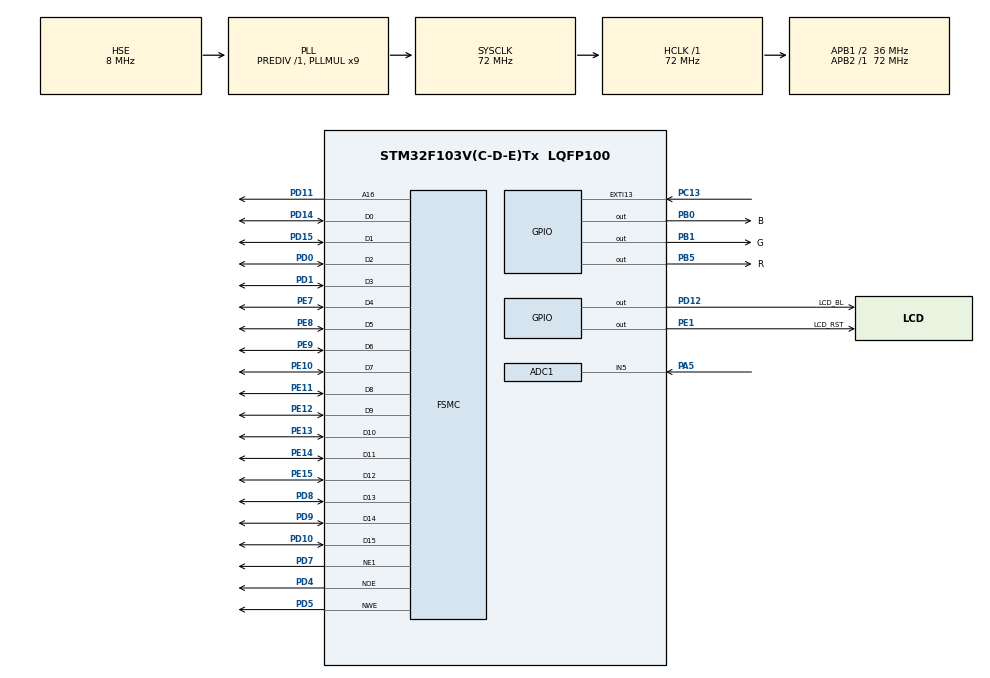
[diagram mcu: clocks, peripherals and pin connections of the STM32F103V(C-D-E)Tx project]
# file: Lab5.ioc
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ADC1.Channel-0\#ChannelRegularConversion=ADC_CHANNEL_5
ADC1.EnableInjectedConversion=DISABLE
ADC1.InjNumberOfConversion=0
ADC1.NbrOfConversionFlag=1
ADC1.Rank-0\#ChannelRegularConversion=1
ADC1.SamplingTime-0\#ChannelRegularConversion=ADC_SAMPLETIME_55CYCLES_5
ADC1.master=1
ADC2.Channel-1\#ChannelRegularConversion=ADC_CHANNEL_5
ADC2.ContinuousConvMode=ENABLE
ADC2.NbrOfConversionFlag=1
ADC2.Rank-1\#ChannelRegularConversion=1
ADC2.SamplingTime-1\#ChannelRegularConversion=ADC_SAMPLETIME_55CYCLES_5
Mcu.Family=STM32F1
Mcu.Name=STM32F103V(C-D-E)Tx
Mcu.Package=LQFP100
NVIC.EXTI15_10_IRQn=true\:0\:0\:false\:false\:true\:true\:true\:true
NVIC.PriorityGroup=NVIC_PRIORITYGROUP_4
OSC_IN.Mode=HSE-External-Oscillator
OSC_IN.Signal=RCC_OSC_IN
OSC_OUT.Mode=HSE-External-Oscillator
OSC_OUT.Signal=RCC_OSC_OUT
PA13.Mode=Serial_Wire
PA13.Signal=SYS_JTMS-SWDIO
PA14.Mode=Serial_Wire
PA14.Signal=SYS_JTCK-SWCLK
PA5.Signal=ADCx_IN5
PB0.GPIO_Label=B
PB0.GPIO_PuPd=GPIO_PULLDOWN
PB0.GPIO_Speed=GPIO_SPEED_FREQ_HIGH
PB0.PinState=GPIO_PIN_SET
PB0.Signal=GPIO_Output
PB1.GPIO_Label=G
PB1.GPIO_PuPd=GPIO_PULLDOWN
PB1.GPIO_Speed=GPIO_SPEED_FREQ_HIGH
PB1.PinState=GPIO_PIN_SET
PB1.Signal=GPIO_Output
PB5.GPIO_Label=R
PB5.GPIO_PuPd=GPIO_PULLDOWN
PB5.GPIO_Speed=GPIO_SPEED_FREQ_HIGH
PB5.PinState=GPIO_PIN_SET
PB5.Signal=GPIO_Output
PC13-TAMPER-RTC.Signal=GPXTI13
PC14-OSC32_IN.Mode=LSE-External-Oscillator
PC14-OSC32_IN.Signal=RCC_OSC32_IN
PC15-OSC32_OUT.Mode=LSE-External-Oscillator
PC15-OSC32_OUT.Signal=RCC_OSC32_OUT
PD0.Mode=16b-d1
PD0.Signal=FSMC_D2
PD1.Mode=16b-d1
PD1.Signal=FSMC_D3
PD10.Mode=16b-d1
PD10.Signal=FSMC_D15
PD11.Mode=A16_1
PD11.Signal=FSMC_A16
PD12.GPIO_Label=LCD_BL
PD12.GPIO_Speed=GPIO_SPEED_FREQ_HIGH
PD12.Signal=GPIO_Output
PD14.Mode=16b-d1
PD14.Signal=FSMC_D0
PD15.Mode=16b-d1
PD15.Signal=FSMC_D1
PD4.Mode=Lcd1
PD4.Signal=FSMC_NOE
PD5.Mode=Lcd1
PD5.Signal=FSMC_NWE
PD7.Mode=NorPsramChipSelect1_1
PD7.Signal=FSMC_NE1
PD8.Mode=16b-d1
PD8.Signal=FSMC_D13
PD9.Mode=16b-d1
PD9.Signal=FSMC_D14
PE1.GPIO_Label=LCD_RST
PE1.GPIO_Speed=GPIO_SPEED_FREQ_HIGH
PE1.PinState=GPIO_PIN_RESET
PE1.Signal=GPIO_Output
PE10.Mode=16b-d1
PE10.Signal=FSMC_D7
PE11.Mode=16b-d1
PE11.Signal=FSMC_D8
PE12.Mode=16b-d1
PE12.Signal=FSMC_D9
PE13.Mode=16b-d1
PE13.Signal=FSMC_D10
PE14.Mode=16b-d1
PE14.Signal=FSMC_D11
PE15.Mode=16b-d1
PE15.Signal=FSMC_D12
PE7.Mode=16b-d1
PE7.Signal=FSMC_D4
PE8.Mode=16b-d1
PE8.Signal=FSMC_D5
PE9.Mode=16b-d1
PE9.Signal=FSMC_D6
ProjectManager.HeapSize=0x200
ProjectManager.StackSize=0x400
ProjectManager.TargetToolchain=STM32CubeIDE
RCC.ADCPresc=RCC_ADCPCLK2_DIV6
RCC.AHBFreq_Value=72000000
RCC.APB1CLKDivider=RCC_HCLK_DIV2
RCC.APB1Freq_Value=36000000
RCC.APB1TimFreq_Value=72000000
RCC.APB2Freq_Value=72000000
RCC.APB2TimFreq_Value=72000000
RCC.HCLKFreq_Value=72000000
RCC.PLLMUL=RCC_PLL_MUL9
RCC.PLLSourceVirtual=RCC_PLLSOURCE_HSE
RCC.SYSCLKFreq_VALUE=72000000
RCC.SYSCLKSource=RCC_SYSCLKSOURCE_PLLCLK
RCC.USBFreq_Value=72000000
SH.ADCx_IN5.0=ADC1_IN5,IN5
SH.ADCx_IN5.1=ADC2_IN5,IN5
board=custom

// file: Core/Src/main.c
/* USER CODE BEGIN Header */
/**
  ******************************************************************************
  * @file           : main.c
  * @brief          : Main program body
  ******************************************************************************
  * @attention
  *
  * Copyright (c) 2024 STMicroelectronics.
  * All rights reserved.
  *
  * This software is licensed under terms that can be found in the LICENSE file
  * in the root directory of this software component.
  * If no LICENSE file comes with this software, it is provided AS-IS.
  *
  ******************************************************************************
  */
/* USER CODE END Header */
#include "main.h"

/* USER CODE BEGIN Includes */
#include "lcd.h"
#include <stdio.h>
// #include <string.h>
/* USER CODE END Includes */

 ADC_HandleTypeDef hadc1;
ADC_HandleTypeDef hadc2;

SRAM_HandleTypeDef hsram1;

/* USER CODE BEGIN PV */
extern int isrFlag;
uint32_t adc1_value;
uint32_t adc2_value;
/* USER CODE END PV */

void SystemClock_Config(void);
static void MX_GPIO_Init(void);
static void MX_FSMC_Init(void);
static void MX_ADC1_Init(void);
static void MX_ADC2_Init(void);

int main(void)
{

  /* MCU Configuration--------------------------------------------------------*/

  /* Reset of all peripherals, Initializes the Flash interface and the Systick. */
  HAL_Init();

  /* Configure the system clock */
  SystemClock_Config();

  /* Initialize all configured peripherals */
  MX_GPIO_Init();
  MX_FSMC_Init();
  MX_ADC1_Init();
  MX_ADC2_Init();
  /* USER CODE BEGIN 2 */
  HAL_ADCEx_Calibration_Start(&hadc1);
  HAL_ADCEx_Calibration_Start(&hadc2);
  HAL_ADC_Start(&hadc2);

  LCD_INIT();
  /* USER CODE END 2 */

  /* Infinite loop */
  while (1)
  {

	  /* USER CODE BEGIN 3 */
      LCD_DrawString(150, 20, "HEX");
      LCD_DrawString(100, 20, "DEC");
      LCD_DrawString(10, 40, "ADC Value:");
      LCD_DrawString(10, 60, "ADC Value:");
//      if(adc1_value < 1000 || adc2_value < 1000){
//    	  LCD_Clear(0, 0, 240, 320, WHITE);
//      }
    if (isrFlag)
    {
      HAL_ADC_Start(&hadc1);
      HAL_ADC_PollForConversion(&hadc1, 1000);
      adc1_value = HAL_ADC_GetValue(&hadc1);
      char buffer[4];

      sprintf(buffer, "%d", adc1_value);
      LCD_DrawString(100, 40, "    ");
      LCD_DrawString(100, 40, buffer);
      char buffer1[10];
      sprintf(buffer1, " 0x%x", adc1_value);
      LCD_DrawString(160, 40, "           ");
      LCD_DrawString(150, 40, buffer1);
      isrFlag = 0;
    }

    HAL_ADC_PollForConversion(&hadc2, 1000);
    adc2_value = HAL_ADC_GetValue(&hadc2);

    char buffer2[4];
    LCD_DrawString(100, 60, "    ");
    LCD_DrawString(100, 60, buffer2);
    sprintf(buffer2, "%d", adc2_value);
    char buffer3[10];
    sprintf(buffer3, " 0x%x", adc2_value);
    LCD_DrawString(160, 60, "          ");
    LCD_DrawString(150, 60, buffer3);
    HAL_Delay(100);

    if (adc2_value < 1300) {
      HAL_GPIO_WritePin(GPIOB, B_Pin|G_Pin|R_Pin, GPIO_PIN_RESET);
    }
    else if(adc2_value < 2200) {
      HAL_GPIO_WritePin(GPIOB, B_Pin|G_Pin, GPIO_PIN_SET);
      HAL_GPIO_WritePin(GPIOB, R_Pin, GPIO_PIN_RESET);

    }
    else if(adc2_value < 2700) {

      HAL_GPIO_WritePin(GPIOB, G_Pin|R_Pin, GPIO_PIN_SET);
      HAL_GPIO_WritePin(GPIOB, B_Pin, GPIO_PIN_RESET);
    }
    else if(adc2_value < 3700) {
      HAL_GPIO_WritePin(GPIOB, B_Pin|R_Pin, GPIO_PIN_SET);
      HAL_GPIO_WritePin(GPIOB, G_Pin, GPIO_PIN_RESET);

    }
    else if(adc2_value >= 3700) {
      HAL_GPIO_WritePin(GPIOB, B_Pin|G_Pin|R_Pin, GPIO_PIN_SET);
    }

  }
  /* USER CODE END 3 */
}

void SystemClock_Config(void)
{
  RCC_OscInitTypeDef RCC_OscInitStruct = {0};
  RCC_ClkInitTypeDef RCC_ClkInitStruct = {0};
  RCC_PeriphCLKInitTypeDef PeriphClkInit = {0};

  /** Initializes the RCC Oscillators according to the specified parameters
  * in the RCC_OscInitTypeDef structure.
  */
  RCC_OscInitStruct.OscillatorType = RCC_OSCILLATORTYPE_HSE;
  RCC_OscInitStruct.HSEState = RCC_HSE_ON;
  RCC_OscInitStruct.HSEPredivValue = RCC_HSE_PREDIV_DIV1;
  RCC_OscInitStruct.HSIState = RCC_HSI_ON;
  RCC_OscInitStruct.PLL.PLLState = RCC_PLL_ON;
  RCC_OscInitStruct.PLL.PLLSource = RCC_PLLSOURCE_HSE;
  RCC_OscInitStruct.PLL.PLLMUL = RCC_PLL_MUL9;
  if (HAL_RCC_OscConfig(&RCC_OscInitStruct) != HAL_OK)
  {
    Error_Handler();
  }

  /** Initializes the CPU, AHB and APB buses clocks
  */
  RCC_ClkInitStruct.ClockType = RCC_CLOCKTYPE_HCLK|RCC_CLOCKTYPE_SYSCLK
                              |RCC_CLOCKTYPE_PCLK1|RCC_CLOCKTYPE_PCLK2;
  RCC_ClkInitStruct.SYSCLKSource = RCC_SYSCLKSOURCE_PLLCLK;
  RCC_ClkInitStruct.AHBCLKDivider = RCC_SYSCLK_DIV1;
  RCC_ClkInitStruct.APB1CLKDivider = RCC_HCLK_DIV2;
  RCC_ClkInitStruct.APB2CLKDivider = RCC_HCLK_DIV1;

  if (HAL_RCC_ClockConfig(&RCC_ClkInitStruct, FLASH_LATENCY_2) != HAL_OK)
  {
    Error_Handler();
  }
  PeriphClkInit.PeriphClockSelection = RCC_PERIPHCLK_ADC;
  PeriphClkInit.AdcClockSelection = RCC_ADCPCLK2_DIV6;
  if (HAL_RCCEx_PeriphCLKConfig(&PeriphClkInit) != HAL_OK)
  {
    Error_Handler();
  }
}

static void MX_ADC1_Init(void)
{

  ADC_ChannelConfTypeDef sConfig = {0};

  /** Common config
  */
  hadc1.Instance = ADC1;
  hadc1.Init.ScanConvMode = ADC_SCAN_DISABLE;
  hadc1.Init.ContinuousConvMode = DISABLE;
  hadc1.Init.DiscontinuousConvMode = DISABLE;
  hadc1.Init.ExternalTrigConv = ADC_SOFTWARE_START;
  hadc1.Init.DataAlign = ADC_DATAALIGN_RIGHT;
  hadc1.Init.NbrOfConversion = 1;
  if (HAL_ADC_Init(&hadc1) != HAL_OK)
  {
    Error_Handler();
  }

  /** Configure Regular Channel
  */
  sConfig.Channel = ADC_CHANNEL_5;
  sConfig.Rank = ADC_REGULAR_RANK_1;
  sConfig.SamplingTime = ADC_SAMPLETIME_55CYCLES_5;
  if (HAL_ADC_ConfigChannel(&hadc1, &sConfig) != HAL_OK)
  {
    Error_Handler();
  }

}

static void MX_ADC2_Init(void)
{

  ADC_ChannelConfTypeDef sConfig = {0};

  /** Common config
  */
  hadc2.Instance = ADC2;
  hadc2.Init.ScanConvMode = ADC_SCAN_DISABLE;
  hadc2.Init.ContinuousConvMode = ENABLE;
  hadc2.Init.DiscontinuousConvMode = DISABLE;
  hadc2.Init.ExternalTrigConv = ADC_SOFTWARE_START;
  hadc2.Init.DataAlign = ADC_DATAALIGN_RIGHT;
  hadc2.Init.NbrOfConversion = 1;
  if (HAL_ADC_Init(&hadc2) != HAL_OK)
  {
    Error_Handler();
  }

  /** Configure Regular Channel
  */
  sConfig.Channel = ADC_CHANNEL_5;
  sConfig.Rank = ADC_REGULAR_RANK_1;
  sConfig.SamplingTime = ADC_SAMPLETIME_55CYCLES_5;
  if (HAL_ADC_ConfigChannel(&hadc2, &sConfig) != HAL_OK)
  {
    Error_Handler();
  }

}

static void MX_GPIO_Init(void)
{
  GPIO_InitTypeDef GPIO_InitStruct = {0};

  /* GPIO Ports Clock Enable */
  __HAL_RCC_GPIOC_CLK_ENABLE();
  __HAL_RCC_GPIOA_CLK_ENABLE();
  __HAL_RCC_GPIOB_CLK_ENABLE();
  __HAL_RCC_GPIOE_CLK_ENABLE();
  __HAL_RCC_GPIOD_CLK_ENABLE();

  /*Configure GPIO pin Output Level */
  HAL_GPIO_WritePin(GPIOB, B_Pin|G_Pin|R_Pin, GPIO_PIN_SET);

  /*Configure GPIO pin Output Level */
  HAL_GPIO_WritePin(LCD_BL_GPIO_Port, LCD_BL_Pin, GPIO_PIN_RESET);

  /*Configure GPIO pin Output Level */
  HAL_GPIO_WritePin(LCD_RST_GPIO_Port, LCD_RST_Pin, GPIO_PIN_RESET);

  /*Configure GPIO pin : PC13 */
  GPIO_InitStruct.Pin = GPIO_PIN_13;
  GPIO_InitStruct.Mode = GPIO_MODE_IT_RISING;
  GPIO_InitStruct.Pull = GPIO_NOPULL;
  HAL_GPIO_Init(GPIOC, &GPIO_InitStruct);

  /*Configure GPIO pins : B_Pin G_Pin R_Pin */
  GPIO_InitStruct.Pin = B_Pin|G_Pin|R_Pin;
  GPIO_InitStruct.Mode = GPIO_MODE_OUTPUT_PP;
  GPIO_InitStruct.Pull = GPIO_PULLDOWN;
  GPIO_InitStruct.Speed = GPIO_SPEED_FREQ_HIGH;
  HAL_GPIO_Init(GPIOB, &GPIO_InitStruct);

  /*Configure GPIO pin : LCD_BL_Pin */
  GPIO_InitStruct.Pin = LCD_BL_Pin;
  GPIO_InitStruct.Mode = GPIO_MODE_OUTPUT_PP;
  GPIO_InitStruct.Pull = GPIO_NOPULL;
  GPIO_InitStruct.Speed = GPIO_SPEED_FREQ_HIGH;
  HAL_GPIO_Init(LCD_BL_GPIO_Port, &GPIO_InitStruct);

  /*Configure GPIO pin : LCD_RST_Pin */
  GPIO_InitStruct.Pin = LCD_RST_Pin;
  GPIO_InitStruct.Mode = GPIO_MODE_OUTPUT_PP;
  GPIO_InitStruct.Pull = GPIO_NOPULL;
  GPIO_InitStruct.Speed = GPIO_SPEED_FREQ_HIGH;
  HAL_GPIO_Init(LCD_RST_GPIO_Port, &GPIO_InitStruct);

  /* EXTI interrupt init*/
  HAL_NVIC_SetPriority(EXTI15_10_IRQn, 0, 0);
  HAL_NVIC_EnableIRQ(EXTI15_10_IRQn);

}

/* FSMC initialization function */
static void MX_FSMC_Init(void)
{

  FSMC_NORSRAM_TimingTypeDef Timing = {0};

  /** Perform the SRAM1 memory initialization sequence
  */
  hsram1.Instance = FSMC_NORSRAM_DEVICE;
  hsram1.Extended = FSMC_NORSRAM_EXTENDED_DEVICE;
  /* hsram1.Init */
  hsram1.Init.NSBank = FSMC_NORSRAM_BANK1;
  hsram1.Init.DataAddressMux = FSMC_DATA_ADDRESS_MUX_DISABLE;
  hsram1.Init.MemoryType = FSMC_MEMORY_TYPE_SRAM;
  hsram1.Init.MemoryDataWidth = FSMC_NORSRAM_MEM_BUS_WIDTH_16;
  hsram1.Init.BurstAccessMode = FSMC_BURST_ACCESS_MODE_DISABLE;
  hsram1.Init.WaitSignalPolarity = FSMC_WAIT_SIGNAL_POLARITY_LOW;
  hsram1.Init.WrapMode = FSMC_WRAP_MODE_DISABLE;
  hsram1.Init.WaitSignalActive = FSMC_WAIT_TIMING_BEFORE_WS;
  hsram1.Init.WriteOperation = FSMC_WRITE_OPERATION_ENABLE;
  hsram1.Init.WaitSignal = FSMC_WAIT_SIGNAL_DISABLE;
  hsram1.Init.ExtendedMode = FSMC_EXTENDED_MODE_DISABLE;
  hsram1.Init.AsynchronousWait = FSMC_ASYNCHRONOUS_WAIT_DISABLE;
  hsram1.Init.WriteBurst = FSMC_WRITE_BURST_DISABLE;
  /* Timing */
  Timing.AddressSetupTime = 15;
  Timing.AddressHoldTime = 15;
  Timing.DataSetupTime = 255;
  Timing.BusTurnAroundDuration = 15;
  Timing.CLKDivision = 16;
  Timing.DataLatency = 17;
  Timing.AccessMode = FSMC_ACCESS_MODE_A;
  /* ExtTiming */

  if (HAL_SRAM_Init(&hsram1, &Timing, NULL) != HAL_OK)
  {
    Error_Handler( );
  }

  /** Disconnect NADV
  */

  __HAL_AFIO_FSMCNADV_DISCONNECTED();

}

void Error_Handler(void)
{
  __disable_irq();
  while (1)
  {
  }
}
